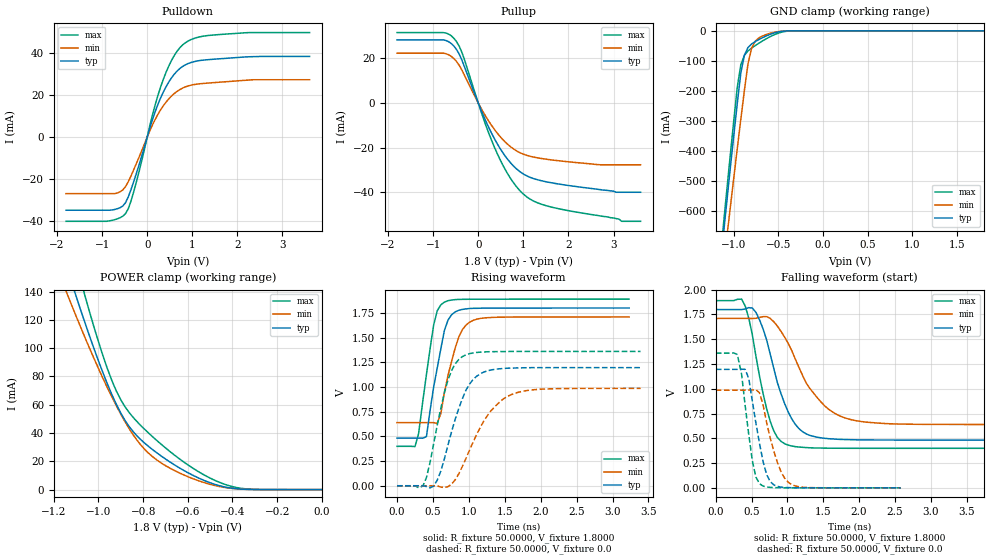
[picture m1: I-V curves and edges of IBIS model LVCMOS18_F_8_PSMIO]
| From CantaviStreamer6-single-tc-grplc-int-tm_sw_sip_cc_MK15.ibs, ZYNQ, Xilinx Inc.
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[Model]  LVCMOS18_F_8_PSMIO
Model_type I/O
Polarity   Non-Inverting
Enable   Active-Low
Vinl = 0.630
Vinh = 1.170
Vmeas =  0.9000V
Cref =   0.0F
Rref =   1.0000M
Vref =   0.0V
C_comp   3.88pF   3.86pF   3.88pF
[Temperature Range]   25.0000   85.0000   0.0
[Voltage Range]   1.8000V   1.7100V   1.8900V
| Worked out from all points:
|   slope of the pulldown table from 0 to 0.27 V, typ, clamps not added: 15.7 ohm
|   slope of the pullup table from 0 to 0.27 V, typ, clamps not added: 21.6 ohm
|   GND clamp passes 1 mA (typ) near -0.44 V on its own axis
|   POWER clamp passes 1 mA (typ) near -0.40 V on its own axis
|   rising waveform, R_fixture 50.0000, V_fixture 1.8000: 20-80 % time 193ps typ, 217ps min, 172ps max; typ from 0.482 V to 1.8 V
|   rising waveform, R_fixture 50.0000, V_fixture 0.0: 20-80 % time 307ps typ, 436ps min, 249ps max; typ from 0 V to 1.2 V
|   falling waveform, R_fixture 50.0000, V_fixture 1.8000: 20-80 % time 335ps typ, 505ps min, 253ps max; typ from 1.8 V to 0.482 V
|   falling waveform, R_fixture 50.0000, V_fixture 0.0: 20-80 % time 177ps typ, 218ps min, 141ps max; typ from 1.2 V to 0 V
[Pulldown]
|Voltage   I(typ)   I(min)   I(max)
-1.8V     -34.74mA   -26.85mA   -40mA
-720mV    -34.37mA   -26.85mA   -39.23mA
-480mV    -31.14mA   -23.51mA   -36.32mA
-420mV    -28.46mA   -21.22mA   -34.05mA
-300mV    -21.19mA   -15.55mA   -26.03mA
120mV     8.53mA     5.958mA    10.82mA
300mV     18.76mA    13.07mA    23.99mA
540mV     28.21mA    19.57mA    36.49mA
840mV     34.31mA    23.85mA    44.78mA
1.14V     36.33mA    25.31mA    47.57mA
1.5V      37.09mA    25.96mA    48.61mA
3.6V      38.38mA    27.29mA    49.72mA
[Pullup]
|Voltage   I(typ)   I(min)   I(max)
-1.8V     28.2mA     22.26mA    31.47mA
-780mV    28.2mA     22.26mA    31.47mA
-540mV    25.44mA    19.85mA    28.95mA
-360mV    19.07mA    14.64mA    22.55mA
120mV     -5.908mA   -4.417mA   -7.25mA
420mV     -18.2mA    -13.48mA   -22.59mA
780mV     -28.2mA    -20.56mA   -35.67mA
1.08V     -32.69mA   -23.5mA    -42.12mA
1.38V     -34.74mA   -24.82mA   -45.21mA
1.8V      -36.37mA   -25.94mA   -47.44mA
3.18V     -40mA      -27.7mA    -53mA
3.6V      -40mA      -27.7mA    -53mA
[GND_clamp]
|Voltage   I(typ)   I(min)   I(max)
-1.8V     -2.697A    -2.655A    -2.833A
-1.12V    -691.7mA   -796.8mA   -661.3mA
-1.08V    -576.3mA   -694.6mA   -538.5mA
-1.04V    -462.4mA   -592.9mA   -418.4mA
-960mV    -241.8mA   -392mA     -187.4mA
-920mV    -140mA     -293.7mA   -112.8mA
-880mV    -80.71mA   -197.6mA   -81.23mA
-840mV    -55.7mA    -109.6mA   -67.11mA
-800mV    -43.97mA   -58.38mA   -57.63mA
-720mV    -29.34mA   -23.99mA   -41.52mA
-360mV    -106.9uA   -110.1uA   -367.6uA
1.8V      4.387nA    217.6nA    1.971nA
[POWER_clamp]
|Voltage   I(typ)   I(min)   I(max)
-1.8V     545.9mA    495.8mA    648.6mA
-1.14V    156.2mA    138.2mA    183.7mA
-1.1V     136.6mA    122.5mA    159.8mA
-1.06V    117.7mA    107.3mA    136.7mA
-960mV    74.65mA    71.95mA    85.43mA
-900mV    54.05mA    53.27mA    63.44mA
-860mV    44.01mA    42.44mA    53.94mA
-800mV    33.79mA    29.64mA    43.66mA
-680mV    19.54mA    15.16mA    26.92mA
-540mV    7.368mA    5.626mA    11.54mA
-400mV    928.6uA    802uA      2.107mA
0V        4.387nA    4.313nA    4.804nA
[Ramp]
| variable   typ   min   max
dV/dt_r  0.7176/0.3072n   0.5917/0.4299n   0.8160/0.2493n
dV/dt_f  0.7905/0.3349n   0.6424/0.4950n   0.8945/0.2533n
R_load = 50.0000
[Rising Waveform]
R_fixture= 50.0000
V_fixture= 1.8000
V_fixture_min= 1.7100
V_fixture_max= 1.8900
|time   V(typ)   V(min)   V(max)
0s        482.5mV    639.4mV    399.2mV
250ps     482.5mV    639.4mV    396.6mV
300ps     482.5mV    639.5mV    526.4mV
410ps     498.7mV    639.4mV    1.128V
510ps     999.3mV    639.4mV    1.628V
610ps     1.387V     731.8mV    1.832V
660ps     1.574V     948.7mV    1.86V
860ps     1.777V     1.507V     1.887V
1.06ns    1.797V     1.675V     1.889V
3.23ns    1.8V       1.71V      1.89V
[Rising Waveform]
R_fixture= 50.0000
V_fixture= 0.0
|time   V(typ)   V(min)   V(max)
0s        0V         639.1nV    -7.795uV
360ps     1.028mV    11.81uV    -3.365mV
460ps     -21.33mV   -26.2uV    236.5mV
560ps     56.63mV    -1.278mV   613.5mV
710ps     414mV      -8.778mV   1.071V
910ps     882.4mV    196mV      1.308V
1.16ns    1.134V     592.9mV    1.353V
1.31ns    1.173V     761.6mV    1.358V
1.57ns    1.191V     916.4mV    1.36V
3.39ns    1.196V     986.2mV    1.36V
[Falling Waveform]
R_fixture= 50.0000
V_fixture= 1.8000
V_fixture_min= 1.7100
V_fixture_max= 1.8900
|time   V(typ)   V(min)   V(max)
0s        1.8V       1.71V      1.89V
360ps     1.799V     1.71V      1.905V
410ps     1.806V     1.71V      1.836V
560ps     1.771V     1.712V     1.328V
760ps     1.347V     1.71V      669.8mV
960ps     851.1mV    1.522V     445.8mV
1.11ns    640.6mV    1.299V     416.1mV
1.31ns    530mV      1.006V     404.4mV
1.82ns    487.5mV    701.8mV    399.5mV
4.8ns     482.5mV    639.4mV    399.2mV
[Falling Waveform]
R_fixture= 50.0000
V_fixture= 0.0
|time   V(typ)   V(min)   V(max)
0s        1.196V     986.3mV    1.36V
300ps     1.196V     986.2mV    1.346V
360ps     1.198V     986.2mV    1.146V
460ps     1.103V     986.1mV    535.1mV
510ps     872.9mV    988.5mV    271.4mV
610ps     447.4mV    959.2mV    41.88mV
760ps     62.51mV    501.2mV    4.622mV
910ps     7.674mV    162.3mV    913.7uV
1.01ns    2.533mV    56.47mV    502.4uV
2.58ns    28.81uV    63.16uV    20.81uV
